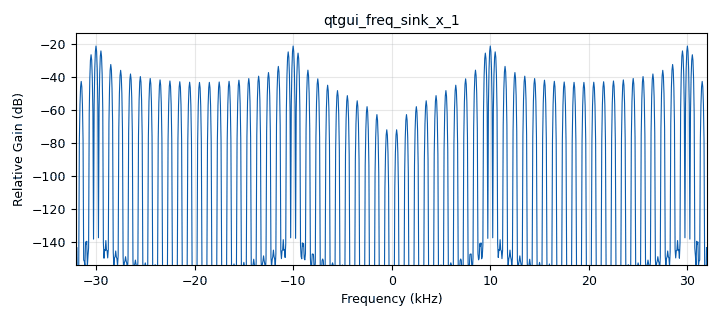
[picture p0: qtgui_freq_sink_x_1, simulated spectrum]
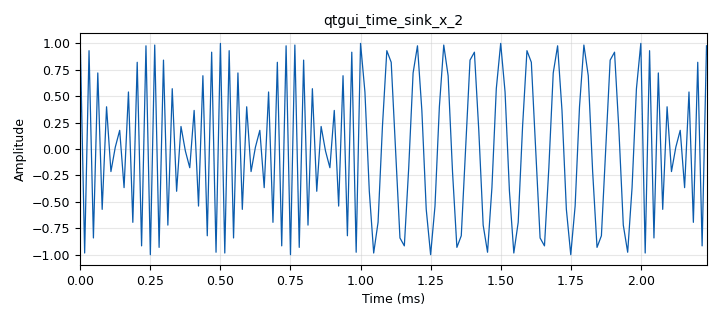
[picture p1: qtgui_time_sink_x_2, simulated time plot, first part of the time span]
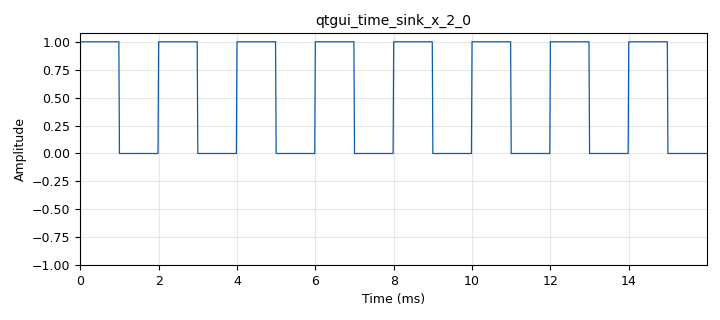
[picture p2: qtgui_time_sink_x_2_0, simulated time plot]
options:
  parameters:
    generate_options: qt_gui
    id: untitled
    output_language: python
    title: Not titled yet
  states: {}

blocks:
- name: samp_rate
  id: variable
  parameters:
    value: '64000'
  states: {}
- name: analog_sig_source_x_0
  id: analog_sig_source_x
  parameters:
    alias: Fuente
    amp: '1'
    freq: '1000'
    offset: '0'
    phase: '0'
    samp_rate: samp_rate
    type: float
    waveform: analog.GR_SQR_WAVE
  states: {state: disabled}
- name: analog_sig_source_x_0_0
  id: analog_sig_source_x
  parameters:
    alias: Fuente
    amp: '1'
    freq: '500'
    offset: '0'
    phase: '0'
    samp_rate: samp_rate
    type: float
    waveform: analog.GR_SQR_WAVE
  states: {}
- name: analog_sig_source_x_1
  id: analog_sig_source_x
  parameters:
    alias: Cuadrada
    amp: '1'
    freq: '10000'
    offset: '0'
    phase: '0'
    samp_rate: samp_rate
    type: float
    waveform: analog.GR_COS_WAVE
  states: {state: disabled}
- name: blocks_add_const_vxx_0
  id: blocks_add_const_vxx
  parameters:
    const: '0.5'
    type: float
  states: {}
- name: blocks_multiply_const_vxx_0
  id: blocks_multiply_const_vxx
  parameters:
    const: '0.5'
    type: float
  states: {state: disabled}
- name: blocks_multiply_xx_0
  id: blocks_multiply_xx
  parameters:
    type: float
  states: {state: disabled}
- name: blocks_vco_f_0
  id: blocks_vco_f
  parameters:
    amplitude: '1'
    samp_rate: samp_rate
    sensitivity: '125663.71'
  states: {}
- name: qtgui_freq_sink_x_0
  id: qtgui_freq_sink_x
  parameters:
    bw: samp_rate
    fc: '0'
    fftsize: '1024'
    type: float
  states: {state: disabled}
- name: qtgui_freq_sink_x_1
  id: qtgui_freq_sink_x
  parameters:
    autoscale: 'True'
    bw: samp_rate
    fc: '0'
    fftsize: '1024'
    type: float
  states: {}
- name: qtgui_time_sink_x_0
  id: qtgui_time_sink_x
  parameters:
    size: '1024'
    srate: samp_rate
    type: float
  states: {state: disabled}
- name: qtgui_time_sink_x_1
  id: qtgui_time_sink_x
  parameters:
    size: '1024'
    srate: samp_rate
    type: float
  states: {state: disabled}
- name: qtgui_time_sink_x_1_0
  id: qtgui_time_sink_x
  parameters:
    size: '1024'
    srate: samp_rate
    type: float
  states: {state: disabled}
- name: qtgui_time_sink_x_2
  id: qtgui_time_sink_x
  parameters:
    autoscale: 'True'
    size: '1024'
    srate: samp_rate
    type: float
  states: {}
- name: qtgui_time_sink_x_2_0
  id: qtgui_time_sink_x
  parameters:
    size: '1024'
    srate: samp_rate
    type: float
  states: {}

connections:
- [analog_sig_source_x_0, '0', blocks_multiply_xx_0, '0']
- [analog_sig_source_x_0, '0', qtgui_time_sink_x_1_0, '0']
- [analog_sig_source_x_0_0, '0', blocks_add_const_vxx_0, '0']
- [analog_sig_source_x_0_0, '0', qtgui_time_sink_x_2_0, '0']
- [analog_sig_source_x_1, '0', blocks_multiply_xx_0, '1']
- [analog_sig_source_x_1, '0', qtgui_time_sink_x_1, '0']
- [blocks_add_const_vxx_0, '0', blocks_vco_f_0, '0']
- [blocks_multiply_xx_0, '0', qtgui_freq_sink_x_0, '0']
- [blocks_multiply_xx_0, '0', qtgui_time_sink_x_0, '0']
- [blocks_vco_f_0, '0', qtgui_freq_sink_x_1, '0']
- [blocks_vco_f_0, '0', qtgui_time_sink_x_2, '0']

metadata:
  file_format: 1
  grc_version: 3.10.9.2
